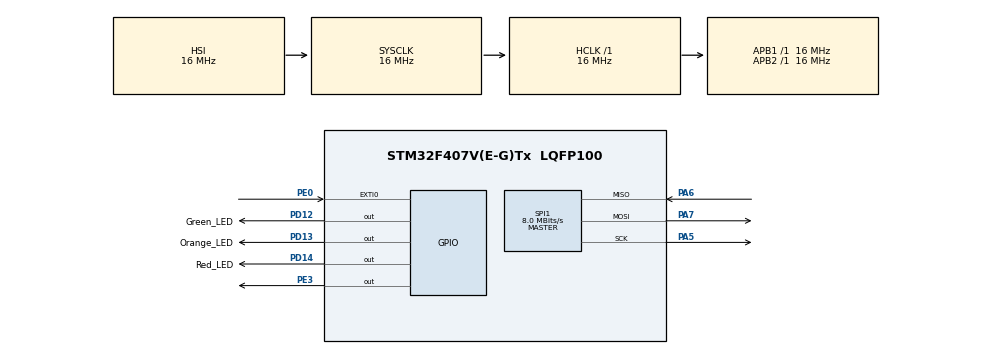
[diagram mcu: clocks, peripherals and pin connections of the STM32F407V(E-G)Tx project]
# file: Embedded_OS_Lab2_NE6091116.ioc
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Mcu.Family=STM32F4
Mcu.Name=STM32F407V(E-G)Tx
Mcu.Package=LQFP100
NVIC.EXTI0_IRQn=true\:7\:0\:true\:false\:true\:true\:true
NVIC.PriorityGroup=NVIC_PRIORITYGROUP_4
NVIC.TIM6_DAC_IRQn=true\:0\:0\:false\:false\:true\:false\:true
NVIC.TimeBase=TIM6_DAC_IRQn
NVIC.TimeBaseIP=TIM6
PA13.Mode=Serial_Wire
PA13.Signal=SYS_JTMS-SWDIO
PA14.Mode=Serial_Wire
PA14.Signal=SYS_JTCK-SWCLK
PA5.Mode=Full_Duplex_Master
PA5.Signal=SPI1_SCK
PA6.Mode=Full_Duplex_Master
PA6.Signal=SPI1_MISO
PA7.Mode=Full_Duplex_Master
PA7.Signal=SPI1_MOSI
PD12.GPIO_Label=Green_LED
PD12.Signal=GPIO_Output
PD13.GPIO_Label=Orange_LED
PD13.Signal=GPIO_Output
PD14.GPIO_Label=Red_LED
PD14.Signal=GPIO_Output
PE0.Signal=GPXTI0
PE3.Signal=GPIO_Output
ProjectManager.HeapSize=0x200
ProjectManager.StackSize=0x400
ProjectManager.TargetToolchain=STM32CubeIDE
RCC.AHBFreq_Value=16000000
RCC.APB1Freq_Value=16000000
RCC.APB2Freq_Value=16000000
RCC.CortexFreq_Value=16000000
RCC.HSE_VALUE=25000000
RCC.HSI_VALUE=16000000
RCC.LSE_VALUE=32768
RCC.SYSCLKFreq_VALUE=16000000
RCC.VCOOutputFreq_Value=192000000
SPI1.CalculateBaudRate=8.0 MBits/s
SPI1.Direction=SPI_DIRECTION_2LINES
SPI1.Mode=SPI_MODE_MASTER
SPI1.VirtualType=VM_MASTER
VP_SYS_VS_tim6.Mode=TIM6
board=custom

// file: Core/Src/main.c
/* USER CODE BEGIN Header */
/**
  ******************************************************************************
  * @file           : main.c
  * @brief          : Main program body
  ******************************************************************************
  * @attention
  *
  * <h2><center>&copy; Copyright (c) 2021 STMicroelectronics.
  * All rights reserved.</center></h2>
  *
  * This software component is licensed by ST under BSD 3-Clause license,
  * the "License"; You may not use this file except in compliance with the
  * License. You may obtain a copy of the License at:
  *                        opensource.org/licenses/BSD-3-Clause
  *
  ******************************************************************************
  */
/* USER CODE END Header */
#include "main.h"

/* USER CODE BEGIN Includes */
#include "FreeRTOS.h"
#include "task.h"
#include "semphr.h"
/* USER CODE END Includes */

/* USER CODE BEGIN PM */
#define LIS3DSH_WHO_AM_I_ADDR                0x0F
#define LIS3DSH_STAT_ADDR                    0x18
#define LIS3DSH_CTRL_REG4_ADDR               0x20
#define LIS3DSH_CTRL_REG1_ADDR               0x21
#define LIS3DSH_CTRL_REG2_ADDR               0x22
#define LIS3DSH_CTRL_REG3_ADDR               0x23
#define LIS3DSH_CTRL_REG5_ADDR               0x24
#define LIS3DSH_CTRL_REG6_ADDR               0x25

#define LIS3DSH_STATUS_ADDR                  0x27

#define LIS3DSH_OUT_X_L_ADDR                 0x28
#define LIS3DSH_OUT_X_H_ADDR                 0x29
#define LIS3DSH_OUT_Y_L_ADDR                 0x2A
#define LIS3DSH_OUT_Y_H_ADDR                 0x2B
#define LIS3DSH_OUT_Z_L_ADDR                 0x2C
#define LIS3DSH_OUT_Z_H_ADDR                 0x2D

#define LIS3DSH_ST1_1_ADDR                   0x40
#define LIS3DSH_ST1_2_ADDR                   0x41
#define LIS3DSH_THRS1_1_ADDR                 0x57
#define LIS3DSH_MASK1_B_ADDR                 0x59
#define LIS3DSH_MASK1_A_ADDR                 0x5A
#define LIS3DSH_SETT1_ADDR                   0x5B
/* USER CODE END PM */

SPI_HandleTypeDef hspi1;

/* USER CODE BEGIN PV */
SemaphoreHandle_t xSemaphore;
/* USER CODE END PV */

void SystemClock_Config(void);
static void MX_GPIO_Init(void);
static void MX_SPI1_Init(void);

/* USER CODE BEGIN 0 */
void MEMS_Write(uint8_t address,uint8_t data){
	HAL_GPIO_WritePin(GPIOE, GPIO_PIN_3, GPIO_PIN_RESET);
	HAL_SPI_Transmit(&hspi1,&address,1,10);
	HAL_SPI_Transmit(&hspi1,&data,1,10);
	HAL_GPIO_WritePin(GPIOE, GPIO_PIN_3,GPIO_PIN_SET);
}
//void MEMS_Read(uint8_t address,uint8_t *data){
//    address |= 0x80;
//	HAL_GPIO_WritePin(GPIOE,GPIO_PIN_3,GPIO_PIN_RESET);
//	HAL_SPI_Transmit(&hspi1,&address,1,10);
//	HAL_SPI_Receive(&hspi1,data,1,10);
//	HAL_GPIO_WritePin(GPIOE,GPIO_PIN_3,GPIO_PIN_SET);
//}
void vlab2_sensor_init(){
	MEMS_Write(0x21,0x01);
	MEMS_Write(0x23,0x48);
	MEMS_Write(0x20,0x67);
	MEMS_Write(0x24,0x00);
	MEMS_Write(0x57,0x55);
	MEMS_Write(0x40,0x05);
	MEMS_Write(0x41,0x11);
	MEMS_Write(0x59,0xFC);
	MEMS_Write(0x5A,0xFC);
	MEMS_Write(0x5B,0x01);
}

void Task1_Task(void *pvParameters){

	while(1){
		HAL_GPIO_TogglePin(GPIOD, GPIO_PIN_12);
		    	vTaskDelay(1000);
		}
	//vlab2_sensor_init();
	}
void HandlerTask_Task(void *pvParameters){

	while(1){
		if( xSemaphoreTake( xSemaphore, 255 ) == pdTRUE ){
			int i;
			for(i=0; i<5; i++){
//				HAL_GPIO_TogglePin(GPIOD, GPIO_PIN_13);
//				vTaskDelay(1000);
				HAL_GPIO_WritePin(Orange_LED_GPIO_Port, GPIO_PIN_13, 1);
				vTaskDelay(1000);
				HAL_GPIO_WritePin(Orange_LED_GPIO_Port, GPIO_PIN_13, 0);
				vTaskDelay(1000);
			}
		vlab2_sensor_init();
		}
	}
}
/* USER CODE END 0 */

int main(void)
{
  /* USER CODE BEGIN 1 */
	uint8_t data;
  /* USER CODE END 1 */

  /* MCU Configuration--------------------------------------------------------*/

  /* Reset of all peripherals, Initializes the Flash interface and the Systick. */
  HAL_Init();

  /* Configure the system clock */
  SystemClock_Config();

  /* Initialize all configured peripherals */
  MX_GPIO_Init();
  MX_SPI1_Init();
  /* USER CODE BEGIN 2 */
  vlab2_sensor_init();
  xSemaphore = xSemaphoreCreateBinary();
  xTaskCreate(
                        Task1_Task,       /* Function that implements the task. */
                        "NAME",          /* Text name for the task. */
                        130,      /* Stack size in words, not bytes. */
                        NULL,
                        1,
                        NULL);
  xTaskCreate(
                         HandlerTask_Task,       /* Function that implements the task. */
                         "NAME",          /* Text name for the task. */
                         130,      /* Stack size in words, not bytes. */
                         NULL,
                         2,
                         NULL);
    vTaskStartScheduler();
  /* USER CODE END 2 */

  /* Infinite loop */
  while (1)
  {

    /* USER CODE BEGIN 3 */
//	  MEMS_Read(LIS3DSH_WHO_AM_I_ADDR,&data);
//	  if(data == 0x3f){
//	 	  HAL_GPIO_TogglePin(GPIOD, GPIO_PIN_12);
//	 	  }
//	 	  HAL_Delay(1000);
  }
  /* USER CODE END 3 */
}

void SystemClock_Config(void)
{
  RCC_OscInitTypeDef RCC_OscInitStruct = {0};
  RCC_ClkInitTypeDef RCC_ClkInitStruct = {0};

  /** Configure the main internal regulator output voltage
  */
  __HAL_RCC_PWR_CLK_ENABLE();
  __HAL_PWR_VOLTAGESCALING_CONFIG(PWR_REGULATOR_VOLTAGE_SCALE1);
  /** Initializes the RCC Oscillators according to the specified parameters
  * in the RCC_OscInitTypeDef structure.
  */
  RCC_OscInitStruct.OscillatorType = RCC_OSCILLATORTYPE_HSI;
  RCC_OscInitStruct.HSIState = RCC_HSI_ON;
  RCC_OscInitStruct.HSICalibrationValue = RCC_HSICALIBRATION_DEFAULT;
  RCC_OscInitStruct.PLL.PLLState = RCC_PLL_NONE;
  if (HAL_RCC_OscConfig(&RCC_OscInitStruct) != HAL_OK)
  {
    Error_Handler();
  }
  /** Initializes the CPU, AHB and APB buses clocks
  */
  RCC_ClkInitStruct.ClockType = RCC_CLOCKTYPE_HCLK|RCC_CLOCKTYPE_SYSCLK
                              |RCC_CLOCKTYPE_PCLK1|RCC_CLOCKTYPE_PCLK2;
  RCC_ClkInitStruct.SYSCLKSource = RCC_SYSCLKSOURCE_HSI;
  RCC_ClkInitStruct.AHBCLKDivider = RCC_SYSCLK_DIV1;
  RCC_ClkInitStruct.APB1CLKDivider = RCC_HCLK_DIV1;
  RCC_ClkInitStruct.APB2CLKDivider = RCC_HCLK_DIV1;

  if (HAL_RCC_ClockConfig(&RCC_ClkInitStruct, FLASH_LATENCY_0) != HAL_OK)
  {
    Error_Handler();
  }
}

static void MX_SPI1_Init(void)
{

  /* SPI1 parameter configuration*/
  hspi1.Instance = SPI1;
  hspi1.Init.Mode = SPI_MODE_MASTER;
  hspi1.Init.Direction = SPI_DIRECTION_2LINES;
  hspi1.Init.DataSize = SPI_DATASIZE_8BIT;
  hspi1.Init.CLKPolarity = SPI_POLARITY_LOW;
  hspi1.Init.CLKPhase = SPI_PHASE_1EDGE;
  hspi1.Init.NSS = SPI_NSS_SOFT;
  hspi1.Init.BaudRatePrescaler = SPI_BAUDRATEPRESCALER_2;
  hspi1.Init.FirstBit = SPI_FIRSTBIT_MSB;
  hspi1.Init.TIMode = SPI_TIMODE_DISABLE;
  hspi1.Init.CRCCalculation = SPI_CRCCALCULATION_DISABLE;
  hspi1.Init.CRCPolynomial = 10;
  if (HAL_SPI_Init(&hspi1) != HAL_OK)
  {
    Error_Handler();
  }

}

static void MX_GPIO_Init(void)
{
  GPIO_InitTypeDef GPIO_InitStruct = {0};

  /* GPIO Ports Clock Enable */
  __HAL_RCC_GPIOE_CLK_ENABLE();
  __HAL_RCC_GPIOA_CLK_ENABLE();
  __HAL_RCC_GPIOD_CLK_ENABLE();

  /*Configure GPIO pin Output Level */
  HAL_GPIO_WritePin(GPIOE, GPIO_PIN_3, GPIO_PIN_RESET);

  /*Configure GPIO pin Output Level */
  HAL_GPIO_WritePin(GPIOD, Green_LED_Pin|Orange_LED_Pin|Red_LED_Pin, GPIO_PIN_RESET);

  /*Configure GPIO pin : PE3 */
  GPIO_InitStruct.Pin = GPIO_PIN_3;
  GPIO_InitStruct.Mode = GPIO_MODE_OUTPUT_PP;
  GPIO_InitStruct.Pull = GPIO_NOPULL;
  GPIO_InitStruct.Speed = GPIO_SPEED_FREQ_LOW;
  HAL_GPIO_Init(GPIOE, &GPIO_InitStruct);

  /*Configure GPIO pins : Green_LED_Pin Orange_LED_Pin Red_LED_Pin */
  GPIO_InitStruct.Pin = Green_LED_Pin|Orange_LED_Pin|Red_LED_Pin;
  GPIO_InitStruct.Mode = GPIO_MODE_OUTPUT_PP;
  GPIO_InitStruct.Pull = GPIO_NOPULL;
  GPIO_InitStruct.Speed = GPIO_SPEED_FREQ_LOW;
  HAL_GPIO_Init(GPIOD, &GPIO_InitStruct);

  /*Configure GPIO pin : PE0 */
  GPIO_InitStruct.Pin = GPIO_PIN_0;
  GPIO_InitStruct.Mode = GPIO_MODE_IT_RISING;
  GPIO_InitStruct.Pull = GPIO_NOPULL;
  HAL_GPIO_Init(GPIOE, &GPIO_InitStruct);

  /* EXTI interrupt init*/
  HAL_NVIC_SetPriority(EXTI0_IRQn, 7, 0);
  HAL_NVIC_EnableIRQ(EXTI0_IRQn);

}

/* USER CODE BEGIN 4 */
void HAL_GPIO_EXTI_Callback(uint16_t GPIO_PIN)
{
    /* switch Red LED state */
	HAL_GPIO_TogglePin(GPIOD, GPIO_PIN_14);

    /* semaphore give */
    BaseType_t xHigherPriorityTaskWoken;
    xHigherPriorityTaskWoken = pdFALSE;
    xSemaphoreGiveFromISR( xSemaphore, &xHigherPriorityTaskWoken );
    portYIELD_FROM_ISR( xHigherPriorityTaskWoken );
}
/* USER CODE END 4 */

 /**
  * @brief  Period elapsed callback in non blocking mode
  * @note   This function is called  when TIM6 interrupt took place, inside
  * HAL_TIM_IRQHandler(). It makes a direct call to HAL_IncTick() to increment
  * a global variable "uwTick" used as application time base.
  * @param  htim : TIM handle
  * @retval None
  */
void HAL_TIM_PeriodElapsedCallback(TIM_HandleTypeDef *htim)
{
  if (htim->Instance == TIM6) {
    HAL_IncTick();
  }
}

void Error_Handler(void)
{
  __disable_irq();
  while (1)
  {
  }
}

/************************ (C) COPYRIGHT STMicroelectronics *****END OF FILE****/
